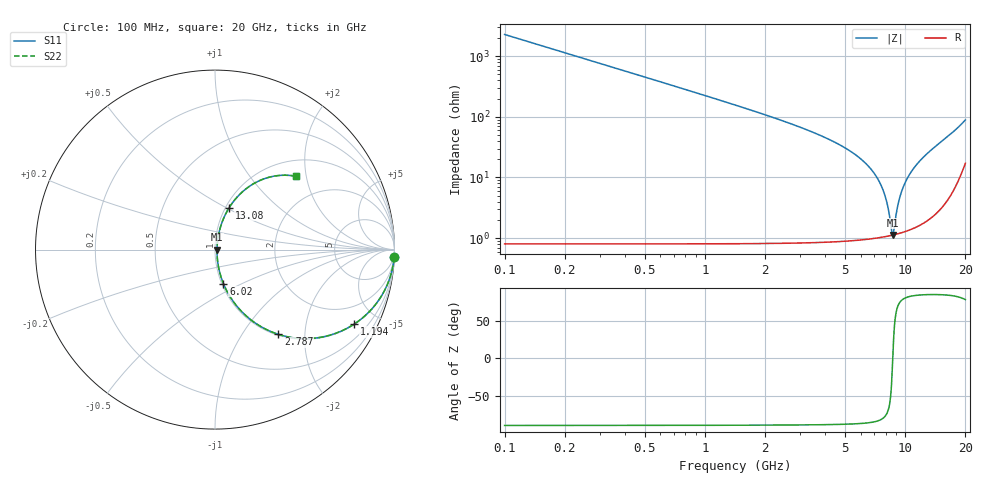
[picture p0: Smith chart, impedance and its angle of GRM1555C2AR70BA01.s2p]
!Murata Part Number: GRM1555C2AR70BA01
!These Parameters are Measured in Series Mode Connection
!Data Generated on Mar 30, 2021
!  o--ll--o
!Port1  Port2
!  o------o
!Operation Temp=25[degC], DC Bias Voltage=0[V]
!Freq. Start=100[MHz] Stop=20[GHz] 401[Steps]
# Hz S RI R 50
!Freq.(Hz) S11(Real) S11(Imag) S21(Real) S21(Imag) S12(Real) S12(Imag) S22(Real) S22(Imag)
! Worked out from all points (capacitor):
!   401 points, 100 MHz to 20 GHz, reference 50 ohm
!   read as one part in series: C = 700 fF near 199.5 MHz
!   lowest |Z| = 1.13 ohm at 8.657 GHz (marker M1)
!   series resonance near 8.675 GHz, so ESL is about 480 pH
!   S11 on the Smith chart (normalised r, x): 100 MHz: 1, -45; 1.194 GHz: 1.02, -3.74; 2.787 GHz: 1.02, -1.47; 6.02 GHz: 1.02, -0.40; 13.08 GHz: 1.04, +0.52; 20 GHz: 1.34, +1.74
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1e8  0.9981 -0.0439  0.00195 0.0439  0.00195 0.0439  0.9981 -0.0439
2.99e8  0.9828 -0.1294  0.0172 0.1294  0.0172 0.1294  0.9828 -0.1294
4.98e8  0.9536 -0.2094  0.0464 0.2094  0.0464 0.2094  0.9536 -0.2094
7.965e8  0.8884 -0.3134  0.1116 0.3134  0.1116 0.3134  0.8884 -0.3134
1.1945e9  0.7765 -0.4144  0.2235 0.4144  0.2235 0.4144  0.7765 -0.4144
1.891e9  0.5681 -0.4918  0.4319 0.4918  0.4319 0.4918  0.5681 -0.4918
2.7865e9  0.3528 -0.4722  0.6472 0.4722  0.6472 0.4722  0.3528 -0.4722
3.43325e9  0.2441 -0.4221  0.7559 0.4221  0.7559 0.4221  0.2441 -0.4221
6.02025e9  0.047 -0.1898  0.953 0.1898  0.953 0.1898  0.047 -0.1898
6.7665e9  0.0273 -0.1311  0.9727 0.1311  0.9727 0.1311  0.0273 -0.1311
7.41325e9  0.0172 -0.0838  0.9828 0.0838  0.9828 0.0838  0.0172 -0.0838
7.91075e9  0.0129 -0.0496  0.9871 0.0496  0.9871 0.0496  0.0129 -0.0496
8.20925e9  0.0116 -0.0298  0.9884 0.0298  0.9884 0.0298  0.0116 -0.0298
8.657e9  0.0111 -0.00112  0.9889 0.00112  0.9889 0.00112  0.0111 -0.00112
8.7565e9  0.0112 0.00509  0.9888 -0.00509  0.9888 -0.00509  0.0112 0.00509
9.30375e9  0.0133 0.0383  0.9867 -0.0383  0.9867 -0.0383  0.0133 0.0383
1.005e10  0.0195 0.0812  0.9805 -0.0812  0.9805 -0.0812  0.0195 0.0812
1.129375e10  0.0375 0.1476  0.9625 -0.1476  0.9625 -0.1476  0.0375 0.1476
1.308475e10  0.0788 0.2336  0.9212 -0.2336  0.9212 -0.2336  0.0788 0.2336
1.338325e10  0.0875 0.2469  0.9125 -0.2469  0.9125 -0.2469  0.0875 0.2469
1.67165e10  0.2254 0.373  0.7746 -0.373  0.7746 -0.373  0.2254 0.373
2e10  0.4504 0.4088  0.5496 -0.4088  0.5496 -0.4088  0.4504 0.4088
